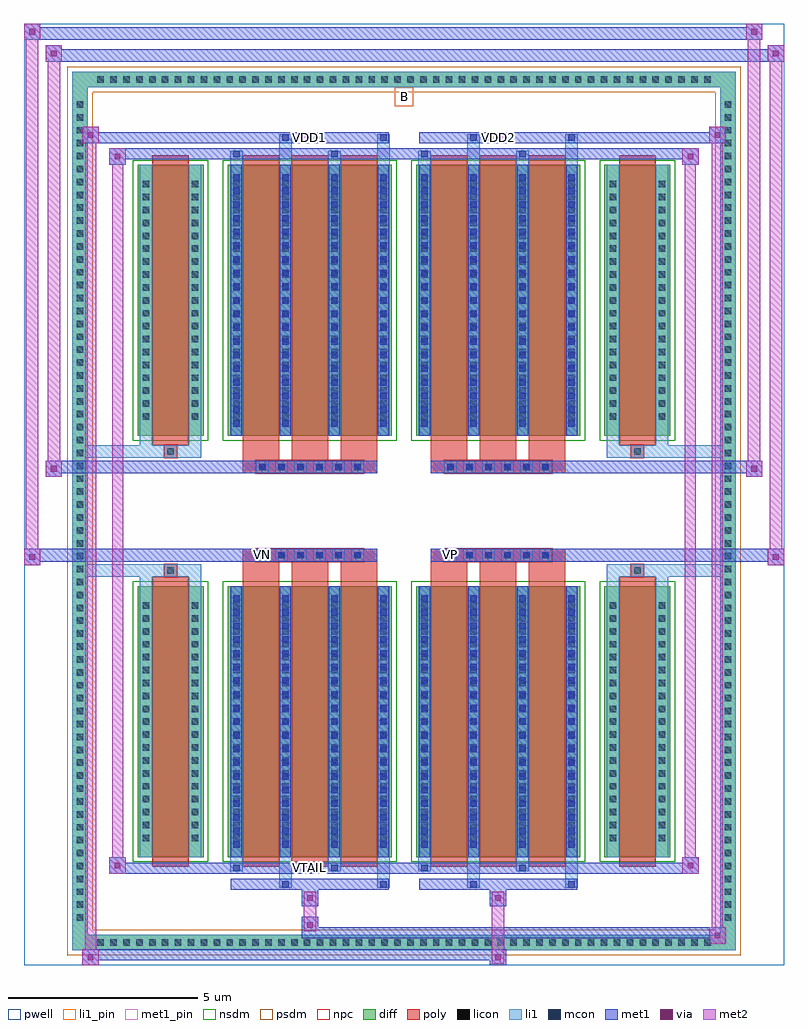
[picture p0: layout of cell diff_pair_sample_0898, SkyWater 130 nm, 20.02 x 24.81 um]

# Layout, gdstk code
import gdstk
lib = gdstk.Library(unit=1e-6, precision=5e-09)
def R(c, l, rs):  # rectangles x0, y0, x1, y1
    for r in rs: c.add(gdstk.rectangle(r[:2], r[2:], *l))
def A(c, l, x, y, w, h, nx, ny, dx, dy):  # array of equal rectangles
    R(c, l, [(x+i*dx, y+j*dy, x+i*dx+w, y+j*dy+h) for i in range(nx) for j in range(ny)])
def P(c, l, *ps):  # polygons
    for p in ps: c.add(gdstk.Polygon(p, *l))
pwell = (64, 44)
diff = (65, 20)
poly = (66, 20)
licon = (66, 44)
li1_pin = (67, 16)
li1 = (67, 20)
mcon = (67, 44)
met1_pin = (68, 16)
met1 = (68, 20)
via = (68, 44)
met2 = (69, 20)
nsdm = (93, 44)
psdm = (94, 20)
npc = (95, 20)

diff_pair_sample_0898 = lib.new_cell('diff_pair_sample_0898')
R(diff_pair_sample_0898, pwell, [(-10.01,-11.97,10.01,12.84), (-7.33,-10.16,-0.01,-0.8), (0.01,-10.16,7.33,-0.8), (-7.33,0.8,-0.01,10.16), (0.01,0.8,7.33,10.16)])
A(diff_pair_sample_0898, diff, -8.195, -11.57, 0.41, 0.41, 48, 2, 0.34, 22.73)
A(diff_pair_sample_0898, diff, -8.74, -10.915, 0.41, 0.41, 1, 64, 0, 0.34)
A(diff_pair_sample_0898, diff, 8.33, -10.915, 0.41, 0.41, 1, 64, 0, 0.34)
R(diff_pair_sample_0898, diff, [(-8.195,-11.57,8.195,-11.16), (-8.74,-10.915,-8.33,10.915), (8.33,-10.915,8.74,10.915), (-7.02,-9.115,-5.28,-1.985), (-4.64,-9.115,-0.32,-1.985), (0.32,-9.115,4.64,-1.985), (5.28,-9.115,7.02,-1.985), (-7.02,1.985,-5.28,9.115), (-4.64,1.985,-0.32,9.115), (0.32,1.985,4.64,9.115), (5.28,1.985,7.02,9.115), (-8.195,11.16,8.195,11.57)])
P(diff_pair_sample_0898, diff, [(8.74,11.57),(-8.74,11.57),(-8.74,-11.16),(-8.33,-11.16),(-8.33,11.16),(8.33,11.16),(8.33,-11.16),(-8.33,-11.16),(-8.74,-11.16),(-8.74,-11.57),(8.74,-11.57)])
A(diff_pair_sample_0898, poly, -4.25, -9.365, 0.96, 7.63, 3, 2, 1.29, 11.1)
A(diff_pair_sample_0898, poly, 0.71, -9.365, 0.96, 7.63, 3, 2, 1.29, 11.1)
A(diff_pair_sample_0898, poly, -4.25, -1.735, 0.96, 0.405, 3, 2, 1.29, 3.065)
A(diff_pair_sample_0898, poly, 0.71, -1.735, 0.96, 0.405, 3, 2, 1.29, 3.065)
A(diff_pair_sample_0898, poly, -3.895, -1.33, 0.33, 0.33, 6, 2, 0.5, 2.33)
A(diff_pair_sample_0898, poly, 1.065, -1.33, 0.33, 0.33, 6, 2, 0.5, 2.33)
R(diff_pair_sample_0898, poly, [(-6.63,-9.365,-5.67,-1.735), (5.67,-9.365,6.63,-1.735), (-6.315,-1.735,-5.985,-1.405), (-6.315,-1.735,-5.985,-1.405), (5.985,-1.735,6.315,-1.405), (5.985,-1.735,6.315,-1.405), (-4.25,-1.33,-0.71,-1), (0.71,-1.33,4.25,-1), (-4.25,1,-0.71,1.33), (0.71,1,4.25,1.33), (-6.315,1.405,-5.985,1.735), (-6.315,1.405,-5.985,1.735), (5.985,1.405,6.315,1.735), (5.985,1.405,6.315,1.735), (-6.63,1.735,-5.67,9.365), (5.67,1.735,6.63,9.365)])
A(diff_pair_sample_0898, licon, -8.075, -11.45, 0.17, 0.17, 48, 2, 0.34, 22.73)
A(diff_pair_sample_0898, licon, -8.62, -10.795, 0.17, 0.17, 1, 64, 0, 0.34)
A(diff_pair_sample_0898, licon, 8.45, -10.795, 0.17, 0.17, 1, 64, 0, 0.34)
A(diff_pair_sample_0898, licon, -6.88, -8.695, 0.17, 0.17, 1, 19, 0, 0.34)
A(diff_pair_sample_0898, licon, -5.59, -8.695, 0.17, 0.17, 1, 19, 0, 0.34)
A(diff_pair_sample_0898, licon, -4.5, -8.695, 0.17, 0.17, 4, 19, 1.29, 0.34)
A(diff_pair_sample_0898, licon, 0.46, -8.695, 0.17, 0.17, 4, 19, 1.29, 0.34)
A(diff_pair_sample_0898, licon, 5.42, -8.695, 0.17, 0.17, 1, 19, 0, 0.34)
A(diff_pair_sample_0898, licon, 6.71, -8.695, 0.17, 0.17, 1, 19, 0, 0.34)
A(diff_pair_sample_0898, licon, -3.815, -1.25, 0.17, 0.17, 6, 2, 0.5, 2.33)
A(diff_pair_sample_0898, licon, 1.145, -1.25, 0.17, 0.17, 6, 2, 0.5, 2.33)
A(diff_pair_sample_0898, licon, -6.88, 2.405, 0.17, 0.17, 1, 19, 0, 0.34)
A(diff_pair_sample_0898, licon, -5.59, 2.405, 0.17, 0.17, 1, 19, 0, 0.34)
A(diff_pair_sample_0898, licon, -4.5, 2.405, 0.17, 0.17, 4, 19, 1.29, 0.34)
A(diff_pair_sample_0898, licon, 0.46, 2.405, 0.17, 0.17, 4, 19, 1.29, 0.34)
A(diff_pair_sample_0898, licon, 5.42, 2.405, 0.17, 0.17, 1, 19, 0, 0.34)
A(diff_pair_sample_0898, licon, 6.71, 2.405, 0.17, 0.17, 1, 19, 0, 0.34)
R(diff_pair_sample_0898, licon, [(-6.235,-1.655,-6.065,-1.485), (6.065,-1.655,6.235,-1.485), (-6.235,1.485,-6.065,1.655), (6.065,1.485,6.235,1.655)])
R(diff_pair_sample_0898, li1_pin, [(-0.25,10.66,0.25,11.16)])
A(diff_pair_sample_0898, li1, -8.155, -11.53, 0.33, 0.33, 48, 2, 0.34, 22.73)
A(diff_pair_sample_0898, li1, -8.7, -10.875, 0.33, 0.33, 1, 64, 0, 0.34)
A(diff_pair_sample_0898, li1, 8.37, -10.875, 0.33, 0.33, 1, 64, 0, 0.34)
A(diff_pair_sample_0898, li1, -4.58, -9.115, 0.33, 7.13, 4, 2, 1.29, 11.1)
A(diff_pair_sample_0898, li1, 0.38, -9.115, 0.33, 7.13, 4, 2, 1.29, 11.1)
A(diff_pair_sample_0898, li1, -4.5, -8.875, 0.17, 0.17, 4, 19, 1.29, 0.36)
A(diff_pair_sample_0898, li1, -4.5, -8.875, 0.17, 6.65, 4, 2, 1.29, 11.1)
A(diff_pair_sample_0898, li1, 0.46, -8.875, 0.17, 0.17, 4, 19, 1.29, 0.36)
A(diff_pair_sample_0898, li1, 0.46, -8.875, 0.17, 6.65, 4, 2, 1.29, 11.1)
A(diff_pair_sample_0898, li1, -6.96, -8.775, 0.33, 0.33, 1, 19, 0, 0.34)
A(diff_pair_sample_0898, li1, -5.67, -8.775, 0.33, 0.33, 1, 19, 0, 0.34)
A(diff_pair_sample_0898, li1, -4.58, -8.775, 0.33, 0.33, 4, 19, 1.29, 0.34)
A(diff_pair_sample_0898, li1, 0.38, -8.775, 0.33, 0.33, 4, 19, 1.29, 0.34)
A(diff_pair_sample_0898, li1, 5.34, -8.775, 0.33, 0.33, 1, 19, 0, 0.34)
A(diff_pair_sample_0898, li1, 6.63, -8.775, 0.33, 0.33, 1, 19, 0, 0.34)
A(diff_pair_sample_0898, li1, -3.895, -1.33, 0.33, 0.33, 6, 2, 0.5, 2.33)
A(diff_pair_sample_0898, li1, 1.065, -1.33, 0.33, 0.33, 6, 2, 0.5, 2.33)
A(diff_pair_sample_0898, li1, -4.5, 2.225, 0.17, 0.17, 4, 19, 1.29, 0.36)
A(diff_pair_sample_0898, li1, 0.46, 2.225, 0.17, 0.17, 4, 19, 1.29, 0.36)
A(diff_pair_sample_0898, li1, -6.96, 2.325, 0.33, 0.33, 1, 19, 0, 0.34)
A(diff_pair_sample_0898, li1, -5.67, 2.325, 0.33, 0.33, 1, 19, 0, 0.34)
A(diff_pair_sample_0898, li1, -4.58, 2.325, 0.33, 0.33, 4, 19, 1.29, 0.34)
A(diff_pair_sample_0898, li1, 0.38, 2.325, 0.33, 0.33, 4, 19, 1.29, 0.34)
A(diff_pair_sample_0898, li1, 5.34, 2.325, 0.33, 0.33, 1, 19, 0, 0.34)
A(diff_pair_sample_0898, li1, 6.63, 2.325, 0.33, 0.33, 1, 19, 0, 0.34)
R(diff_pair_sample_0898, li1, [(-8.74,-11.57,-8.33,-11.16), (-8.74,-11.57,-8.33,-11.16), (-8.33,-11.57,8.33,-11.16), (8.33,-11.57,8.74,-11.16), (8.33,-11.57,8.74,-11.16), (-8.74,-11.16,-8.33,11.16), (8.33,-11.16,8.74,11.16), (-3.29,-9.92,-2.96,-9.115), (-3.21,-9.92,-3.04,-9.75), (-0.71,-9.92,-0.38,-9.115), (-0.63,-9.92,-0.46,-9.75), (1.67,-9.92,2,-9.115), (1.75,-9.92,1.92,-9.75), (4.25,-9.92,4.58,-9.115), (4.33,-9.92,4.5,-9.75), (-4.58,-9.49,-4.25,-9.115), (-4.5,-9.49,-4.33,-9.32), (-2,-9.49,-1.67,-9.115), (-1.92,-9.49,-1.75,-9.32), (0.38,-9.49,0.71,-9.115), (0.46,-9.49,0.63,-9.32), (2.96,-9.49,3.29,-9.115), (3.04,-9.49,3.21,-9.32), (-6.96,-9.115,-6.63,-1.985), (-5.67,-9.115,-5.34,-1.985), (5.34,-9.115,5.67,-1.985), (6.63,-9.115,6.96,-1.985), (-6.96,-1.985,-6.63,-1.405), (-5.67,-1.985,-5.34,-1.405), (5.34,-1.985,5.67,-1.405), (6.63,-1.985,6.96,-1.405), (-8.74,-1.735,-6.315,-1.405), (-6.96,-1.735,-6.315,-1.405), (-6.315,-1.735,-5.985,-1.405), (-5.985,-1.735,-5.34,-1.405), (5.34,-1.735,5.985,-1.405), (5.985,-1.735,6.315,-1.405), (5.985,-1.735,8.74,-1.405), (6.315,-1.735,6.96,-1.405), (-8.74,1.405,-6.315,1.735), (-6.96,1.405,-6.315,1.735), (-6.96,1.405,-6.63,1.985), (-6.315,1.405,-5.985,1.735), (-5.985,1.405,-5.34,1.735), (-5.67,1.405,-5.34,1.985), (5.34,1.405,5.985,1.735), (5.34,1.405,5.67,1.985), (5.985,1.405,6.315,1.735), (5.985,1.405,8.74,1.735), (6.315,1.405,6.96,1.735), (6.63,1.405,6.96,1.985), (-6.96,1.985,-6.63,9.115), (-5.67,1.985,-5.34,9.115), (5.34,1.985,5.67,9.115), (6.63,1.985,6.96,9.115), (-4.58,9.115,-4.25,9.49), (-3.29,9.115,-2.96,9.92), (-2,9.115,-1.67,9.49), (-0.71,9.115,-0.38,9.92), (0.38,9.115,0.71,9.49), (1.67,9.115,2,9.92), (2.96,9.115,3.29,9.49), (4.25,9.115,4.58,9.92), (-4.5,9.32,-4.33,9.49), (-1.92,9.32,-1.75,9.49), (0.46,9.32,0.63,9.49), (3.04,9.32,3.21,9.49), (-3.21,9.75,-3.04,9.92), (-0.63,9.75,-0.46,9.92), (1.75,9.75,1.92,9.92), (4.33,9.75,4.5,9.92), (-8.74,11.16,-8.33,11.57), (-8.74,11.16,-8.33,11.57), (-8.33,11.16,8.33,11.57), (8.33,11.16,8.74,11.57), (8.33,11.16,8.74,11.57)])
A(diff_pair_sample_0898, mcon, -4.5, -8.875, 0.17, 0.17, 4, 19, 1.29, 0.36)
A(diff_pair_sample_0898, mcon, 0.46, -8.875, 0.17, 0.17, 4, 19, 1.29, 0.36)
A(diff_pair_sample_0898, mcon, -3.815, -1.25, 0.17, 0.17, 6, 2, 0.5, 2.33)
A(diff_pair_sample_0898, mcon, 1.145, -1.25, 0.17, 0.17, 6, 2, 0.5, 2.33)
A(diff_pair_sample_0898, mcon, -4.5, 2.225, 0.17, 0.17, 4, 19, 1.29, 0.36)
A(diff_pair_sample_0898, mcon, 0.46, 2.225, 0.17, 0.17, 4, 19, 1.29, 0.36)
R(diff_pair_sample_0898, mcon, [(-3.21,-9.92,-3.04,-9.75), (-0.63,-9.92,-0.46,-9.75), (1.75,-9.92,1.92,-9.75), (4.33,-9.92,4.5,-9.75), (-4.5,-9.49,-4.33,-9.32), (-1.92,-9.49,-1.75,-9.32), (0.46,-9.49,0.63,-9.32), (3.04,-9.49,3.21,-9.32), (-4.5,9.32,-4.33,9.49), (-1.92,9.32,-1.75,9.49), (0.46,9.32,0.63,9.49), (3.04,9.32,3.21,9.49), (-3.21,9.75,-3.04,9.92), (-0.63,9.75,-0.46,9.92), (1.75,9.75,1.92,9.92), (4.33,9.75,4.5,9.92)])
R(diff_pair_sample_0898, met1_pin, [(-2.615,-9.53,-2.345,-9.26), (-3.865,-1.29,-3.595,-1.02), (1.095,-1.29,1.365,-1.02), (-2.615,9.71,-2.345,9.98), (2.345,9.71,2.615,9.98)])
A(diff_pair_sample_0898, met1, -4.56, -9.115, 0.29, 7.13, 4, 2, 1.29, 11.1)
A(diff_pair_sample_0898, met1, 0.4, -9.115, 0.29, 7.13, 4, 2, 1.29, 11.1)
A(diff_pair_sample_0898, met1, -4.56, -8.935, 0.29, 0.29, 4, 19, 1.29, 0.36)
A(diff_pair_sample_0898, met1, 0.4, -8.935, 0.29, 0.29, 4, 19, 1.29, 0.36)
A(diff_pair_sample_0898, met1, -3.875, -1.31, 0.29, 0.29, 6, 2, 0.5, 2.33)
A(diff_pair_sample_0898, met1, 1.085, -1.31, 0.29, 0.29, 6, 2, 0.5, 2.33)
A(diff_pair_sample_0898, met1, -4.56, 2.165, 0.29, 0.29, 4, 19, 1.29, 0.36)
A(diff_pair_sample_0898, met1, 0.4, 2.165, 0.29, 0.29, 4, 19, 1.29, 0.36)
R(diff_pair_sample_0898, met1, [(-8.47,-11.97,-8.04,-11.54), (2.265,-11.97,2.695,-11.54), (-8.47,-11.83,2.695,-11.54), (8.04,-11.4,8.47,-10.97), (-2.695,-11.26,8.47,-10.97), (-2.695,-11.12,-2.265,-10.69), (-2.695,-10.41,-2.265,-9.98), (2.265,-10.41,2.695,-9.98), (-4.56,-9.98,-0.4,-9.69), (-3.27,-9.98,-2.98,-9.69), (-0.69,-9.98,-0.4,-9.69), (0.4,-9.98,4.56,-9.69), (1.69,-9.98,1.98,-9.69), (4.27,-9.98,4.56,-9.69), (-7.76,-9.55,-7.33,-9.12), (-7.76,-9.55,-4.56,-9.26), (-4.56,-9.55,-4.27,-9.26), (-4.56,-9.55,-0.4,-9.26), (-1.98,-9.55,-1.69,-9.26), (-0.4,-9.55,0.4,-9.26), (0.4,-9.55,0.69,-9.26), (0.4,-9.55,4.56,-9.26), (2.98,-9.55,3.27,-9.26), (4.56,-9.55,7.76,-9.26), (7.33,-9.55,7.76,-9.12), (-10.01,-1.43,-9.58,-1), (9.58,-1.43,10.01,-1), (-10.01,-1.33,-0.71,-1), (-4.25,-1.33,-0.71,-1), (0.71,-1.33,4.25,-1), (0.71,-1.33,10.01,-1), (-9.44,0.9,-9.01,1.33), (9.01,0.9,9.44,1.33), (-9.44,1,-4.25,1.33), (-4.25,1,-0.71,1.33), (0.71,1,4.25,1.33), (4.25,1,9.44,1.33), (-7.76,9.12,-7.33,9.55), (7.33,9.12,7.76,9.55), (-7.76,9.26,-4.56,9.55), (-4.56,9.26,-4.27,9.55), (-4.56,9.26,-0.4,9.55), (-1.98,9.26,-1.69,9.55), (-0.4,9.26,0.4,9.55), (0.4,9.26,0.69,9.55), (0.4,9.26,4.56,9.55), (2.98,9.26,3.27,9.55), (4.56,9.26,7.76,9.55), (-8.47,9.69,-8.04,10.12), (-8.47,9.69,-4.56,9.98), (-4.56,9.69,-0.4,9.98), (-3.27,9.69,-2.98,9.98), (-0.69,9.69,-0.4,9.98), (0.4,9.69,4.56,9.98), (1.69,9.69,1.98,9.98), (4.27,9.69,4.56,9.98), (4.56,9.69,8.47,9.98), (8.04,9.69,8.47,10.12), (-9.44,11.84,-9.01,12.27), (-9.44,11.84,-7.33,12.17), (-7.33,11.84,7.33,12.17), (7.33,11.84,10.01,12.17), (9.58,11.84,10.01,12.27), (-10.01,12.41,-9.58,12.84), (-10.01,12.41,-7.33,12.74), (-7.33,12.41,7.33,12.74), (7.33,12.41,9.44,12.74), (9.01,12.41,9.44,12.84)])
R(diff_pair_sample_0898, via, [(-8.33,-11.83,-8.18,-11.68), (2.405,-11.83,2.555,-11.68), (8.18,-11.26,8.33,-11.11), (-2.555,-10.98,-2.405,-10.83), (-2.555,-10.27,-2.405,-10.12), (2.405,-10.27,2.555,-10.12), (-7.62,-9.41,-7.47,-9.26), (7.47,-9.41,7.62,-9.26), (-9.87,-1.29,-9.72,-1.14), (9.72,-1.29,9.87,-1.14), (-9.3,1.04,-9.15,1.19), (9.15,1.04,9.3,1.19), (-7.62,9.26,-7.47,9.41), (7.47,9.26,7.62,9.41), (-8.33,9.83,-8.18,9.98), (8.18,9.83,8.33,9.98), (-9.3,11.98,-9.15,12.13), (9.72,11.98,9.87,12.13), (-9.87,12.55,-9.72,12.7), (9.15,12.55,9.3,12.7)])
R(diff_pair_sample_0898, met2, [(-8.47,-11.97,-8.04,-11.54), (-8.4,-11.97,-8.11,10.12), (-8.11,-11.97,-8.04,-11.54), (-8.42,-11.92,-8.09,-11.59), (2.315,-11.92,2.645,-11.59), (2.315,-11.59,2.645,-10.36), (8.04,-11.4,8.47,-10.97), (8.11,-11.4,8.4,10.12), (8.4,-11.4,8.47,-10.97), (8.09,-11.35,8.42,-11.02), (-2.645,-11.07,-2.315,-10.74), (-2.645,-10.74,-2.315,-10.36), (-2.645,-10.36,-2.315,-10.03), (2.315,-10.36,2.645,-10.03), (-7.76,-9.55,-7.33,-9.12), (-7.69,-9.55,-7.4,9.55), (-7.4,-9.55,-7.33,-9.12), (7.33,-9.55,7.76,-9.12), (7.4,-9.55,7.69,9.55), (7.69,-9.55,7.76,-9.12), (-7.71,-9.5,-7.38,-9.17), (7.38,-9.5,7.71,-9.17), (-10.01,-1.43,-9.58,-1), (-9.96,-1.43,-9.63,12.84), (-9.63,-1.43,-9.58,-1), (9.58,-1.43,10.01,-1), (9.63,-1.43,9.96,12.27), (9.96,-1.43,10.01,-1), (-9.96,-1.38,-9.63,-1.05), (9.63,-1.38,9.96,-1.05), (-9.44,0.9,-9.01,1.33), (-9.39,0.9,-9.06,12.27), (-9.06,0.9,-9.01,1.33), (9.01,0.9,9.44,1.33), (9.06,0.9,9.39,12.84), (9.39,0.9,9.44,1.33), (-9.39,0.95,-9.06,1.28), (9.06,0.95,9.39,1.28), (-7.76,9.12,-7.33,9.55), (-7.4,9.12,-7.33,9.55), (7.33,9.12,7.76,9.55), (7.69,9.12,7.76,9.55), (-7.71,9.17,-7.38,9.5), (7.38,9.17,7.71,9.5), (-8.47,9.69,-8.04,10.12), (-8.11,9.69,-8.04,10.12), (8.04,9.69,8.47,10.12), (8.4,9.69,8.47,10.12), (-8.42,9.74,-8.09,10.07), (8.09,9.74,8.42,10.07), (-9.44,11.84,-9.01,12.27), (-9.06,11.84,-9.01,12.27), (9.58,11.84,10.01,12.27), (9.96,11.84,10.01,12.27), (-9.39,11.89,-9.06,12.22), (9.63,11.89,9.96,12.22), (-10.01,12.41,-9.58,12.84), (-9.63,12.41,-9.58,12.84), (9.01,12.41,9.44,12.84), (9.39,12.41,9.44,12.84), (-9.96,12.46,-9.63,12.79), (9.06,12.46,9.39,12.79)])
R(diff_pair_sample_0898, nsdm, [(-7.15,-9.245,-5.15,-1.855), (-4.77,-9.245,-0.19,-1.855), (0.19,-9.245,4.77,-1.855), (5.15,-9.245,7.15,-1.855), (-7.15,1.855,-5.15,9.245), (-4.77,1.855,-0.19,9.245), (0.19,1.855,4.77,9.245), (5.15,1.855,7.15,9.245)])
P(diff_pair_sample_0898, psdm, [(8.87,11.7),(-8.87,11.7),(-8.87,-11.03),(-8.2,-11.03),(-8.2,11.03),(8.2,11.03),(8.2,-11.03),(-8.2,-11.03),(-8.87,-11.03),(-8.87,-11.7),(8.87,-11.7)])
A(diff_pair_sample_0898, npc, -3.915, -1.35, 0.37, 0.37, 6, 2, 0.5, 2.33)
A(diff_pair_sample_0898, npc, 1.045, -1.35, 0.37, 0.37, 6, 2, 0.5, 2.33)
R(diff_pair_sample_0898, npc, [(-6.335,-1.755,-5.965,-1.385), (5.965,-1.755,6.335,-1.385), (-3.915,-1.35,-3.045,-0.98), (-3.915,-1.35,-3.045,-0.98), (-3.415,-1.35,-2.545,-0.98), (-3.415,-1.35,-2.545,-0.98), (-2.915,-1.35,-2.045,-0.98), (-2.915,-1.35,-2.045,-0.98), (-2.415,-1.35,-1.545,-0.98), (-2.415,-1.35,-1.545,-0.98), (-1.915,-1.35,-1.045,-0.98), (-1.915,-1.35,-1.045,-0.98), (1.045,-1.35,1.915,-0.98), (1.045,-1.35,1.915,-0.98), (1.545,-1.35,2.415,-0.98), (1.545,-1.35,2.415,-0.98), (2.045,-1.35,2.915,-0.98), (2.045,-1.35,2.915,-0.98), (2.545,-1.35,3.415,-0.98), (2.545,-1.35,3.415,-0.98), (3.045,-1.35,3.915,-0.98), (3.045,-1.35,3.915,-0.98), (-3.915,0.98,-3.045,1.35), (-3.915,0.98,-3.045,1.35), (-3.415,0.98,-2.545,1.35), (-3.415,0.98,-2.545,1.35), (-2.915,0.98,-2.045,1.35), (-2.915,0.98,-2.045,1.35), (-2.415,0.98,-1.545,1.35), (-2.415,0.98,-1.545,1.35), (-1.915,0.98,-1.045,1.35), (-1.915,0.98,-1.045,1.35), (1.045,0.98,1.915,1.35), (1.045,0.98,1.915,1.35), (1.545,0.98,2.415,1.35), (1.545,0.98,2.415,1.35), (2.045,0.98,2.915,1.35), (2.045,0.98,2.915,1.35), (2.545,0.98,3.415,1.35), (2.545,0.98,3.415,1.35), (3.045,0.98,3.915,1.35), (3.045,0.98,3.915,1.35), (-6.335,1.385,-5.965,1.755), (5.965,1.385,6.335,1.755)])
diff_pair_sample_0898.add(gdstk.Label('VTAIL', (-2.48,-9.395), layer=68, texttype=5))
diff_pair_sample_0898.add(gdstk.Label('VN', (-3.73,-1.155), layer=68, texttype=5))
diff_pair_sample_0898.add(gdstk.Label('VP', (1.23,-1.155), layer=68, texttype=5))
diff_pair_sample_0898.add(gdstk.Label('B', (0,10.91), layer=67, texttype=5))
diff_pair_sample_0898.add(gdstk.Label('VDD2', (2.48,9.845), layer=68, texttype=5))
diff_pair_sample_0898.add(gdstk.Label('VDD1', (-2.48,9.845), layer=68, texttype=5))

lib.write_gds('diff_pair_sample_0898.gds')
